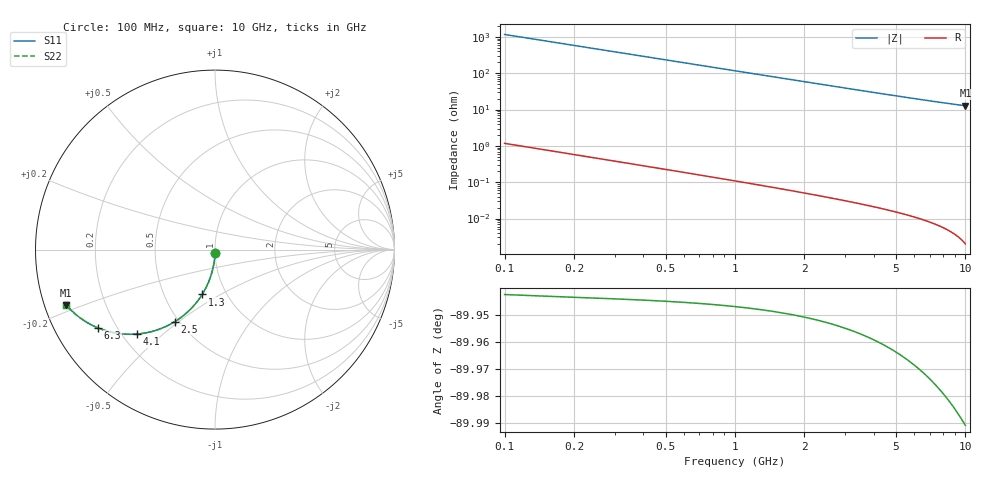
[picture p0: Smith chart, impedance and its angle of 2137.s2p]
# Hz S RI R 50.00
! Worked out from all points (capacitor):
!   100 points, 100 MHz to 10 GHz, reference 50 ohm
!   read as one part in shunt: C = 1.36 pF near 100 MHz
!   lowest |Z| = 12.7 ohm at 10 GHz (marker M1)
!   S11 on the Smith chart (normalised r, x): 100 MHz: 1.00, -0.04; 1.3 GHz: 0.77, -0.41; 2.5 GHz: 0.48, -0.48; 4.1 GHz: 0.26, -0.41; 6.3 GHz: 0.13, -0.30; 10 GHz: 0.06, -0.18
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1e8  -5.58e-05 -0.0207  0.9991 -0.0219  0.9991 -0.0219  -5.58e-05 -0.0207
2e8  -0.00144 -0.0414  0.9977 -0.0438  0.9977 -0.0438  -0.00144 -0.0414
3e8  -0.00372 -0.062  0.9954 -0.0656  0.9954 -0.0656  -0.00372 -0.062
4e8  -0.00689 -0.0824  0.9922 -0.0872  0.9922 -0.0872  -0.00689 -0.0824
5e8  -0.0109 -0.1025  0.9882 -0.1085  0.9882 -0.1085  -0.0109 -0.1025
6e8  -0.0158 -0.1224  0.9833 -0.1296  0.9833 -0.1296  -0.0158 -0.1224
8e8  -0.0281 -0.1611  0.971 -0.1708  0.971 -0.1708  -0.0281 -0.1611
1e9  -0.0434 -0.1982  0.9557 -0.2102  0.9557 -0.2102  -0.0434 -0.1982
1.3e9  -0.0714 -0.2499  0.9276 -0.2656  0.9276 -0.2656  -0.0714 -0.2499
1.5e9  -0.0929 -0.2815  0.906 -0.2996  0.906 -0.2996  -0.0929 -0.2815
1.8e9  -0.1288 -0.3242  0.8701 -0.3459  0.8701 -0.3459  -0.1288 -0.3242
2.1e9  -0.1677 -0.3609  0.8311 -0.3863  0.8311 -0.3863  -0.1677 -0.3609
2.5e9  -0.2224 -0.4007  0.7763 -0.4309  0.7763 -0.4309  -0.2224 -0.4007
2.9e9  -0.2783 -0.4304  0.7202 -0.4655  0.7202 -0.4655  -0.2783 -0.4304
3.4e9  -0.347 -0.4551  0.6512 -0.4964  0.6512 -0.4964  -0.347 -0.4551
4.1e9  -0.4369 -0.4707  0.5609 -0.5205  0.5609 -0.5205  -0.4369 -0.4707
5.1e9  -0.5473 -0.4659  0.4498 -0.5282  0.4498 -0.5282  -0.5473 -0.4659
6.3e9  -0.6507 -0.4368  0.3453 -0.5142  0.3453 -0.5142  -0.6507 -0.4368
6.7e9  -0.6789 -0.4242  0.3167 -0.5067  0.3167 -0.5067  -0.6789 -0.4242
7.5e9  -0.7274 -0.3968  0.2673 -0.4897  0.2673 -0.4897  -0.7274 -0.3968
8.4e9  -0.7714 -0.3647  0.222 -0.4695  0.222 -0.4695  -0.7714 -0.3647
1e10  -0.8291 -0.3085  0.1618 -0.4349  0.1618 -0.4349  -0.8291 -0.3085
